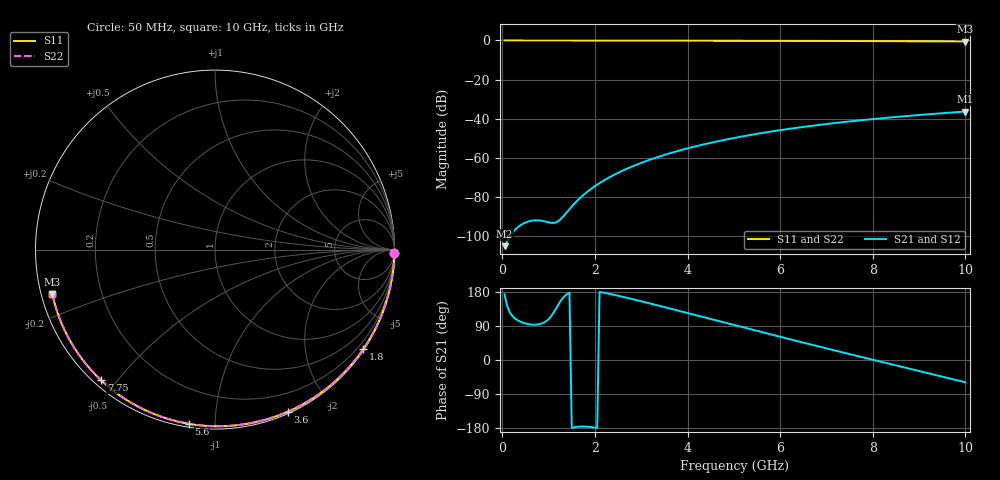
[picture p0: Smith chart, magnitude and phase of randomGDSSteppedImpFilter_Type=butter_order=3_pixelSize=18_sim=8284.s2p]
! freq	dB(S11)	phase(S11)	dB(S12)	phase(S12)
!  dB(S21)	phase(S21)	dB(S22)	phase(S22)
!S-par simulation data
#  GHz  S  DB  R 50
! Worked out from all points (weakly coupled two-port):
!   200 points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, 50 MHz to 10 GHz, reference 50 ohm
!   highest |S21| = -36.28 dB at 10 GHz (marker M1); lowest = -105.0 dB at 50 MHz (marker M2)
!   lowest |S11| = -0.5 dB at 10 GHz (marker M3), VSWR 31.98, Z = 1.59 - j6.7 ohm
!   |S11| at or under -10 dB: nowhere
!   |S22| runs from -0.5 to 0.0 dB; largest |S21 - S12| = 0
!   S11 on the Smith chart (normalised r, x): 50 MHz: open; 1.8 GHz: 0.03, -3.28; 3.6 GHz: 0.02, -1.54; 5.6 GHz: 0.02, -0.86; 7.75 GHz: 0.02, -0.45; 10 GHz: 0.03, -0.13
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0.05  -0.00 -1.0  -104.98 173.2  -104.98 173.2  -0.00 -1.0
0.45  -0.01 -8.6  -93.49 98.2  -93.49 98.2  -0.01 -8.6
0.85  -0.02 -16.2  -91.99 96.2  -91.99 96.2  -0.02 -16.2
1.65  -0.04 -31.1  -81.03 -175.8  -81.03 -175.8  -0.04 -31.1
1.7  -0.04 -32.1  -79.93 -175.5  -79.93 -175.5  -0.04 -32.1
1.75  -0.04 -33.0  -78.88 -175.5  -78.88 -175.5  -0.04 -33.0
1.8  -0.04 -33.9  -77.89 -175.8  -77.89 -175.8  -0.04 -33.9
2.1  -0.05 -39.4  -72.78 179.6  -72.78 179.6  -0.05 -39.4
2.3  -0.05 -43.0  -69.99 175.0  -69.99 175.0  -0.05 -43.0
2.5  -0.06 -46.6  -67.53 169.6  -67.53 169.6  -0.06 -46.6
2.9  -0.07 -53.7  -63.37 158.1  -63.37 158.1  -0.07 -53.7
3.4  -0.08 -62.4  -59.16 142.8  -59.16 142.8  -0.08 -62.4
3.6  -0.09 -65.9  -57.70 136.5  -57.70 136.5  -0.09 -65.9
4.3  -0.11 -77.7  -53.31 114.5  -53.31 114.5  -0.11 -77.7
5.05  -0.14 -89.9  -49.56 90.9  -49.56 90.9  -0.14 -89.9
5.6  -0.16 -98.6  -47.25 73.7  -47.25 73.7  -0.16 -98.6
6.15  -0.19 -107.1  -45.26 56.6  -45.26 56.6  -0.19 -107.1
6.7  -0.22 -115.4  -43.51 39.8  -43.51 39.8  -0.22 -115.4
7.75  -0.30 -131.1  -40.71 8.1  -40.71 8.1  -0.30 -131.1
8.35  -0.36 -140.0  -39.35 -9.7  -39.35 -9.7  -0.36 -140.0
9.2  -0.44 -152.6  -37.66 -34.8  -37.66 -34.8  -0.44 -152.6
10  -0.54 -164.7  -36.28 -58.9  -36.28 -58.9  -0.54 -164.8
